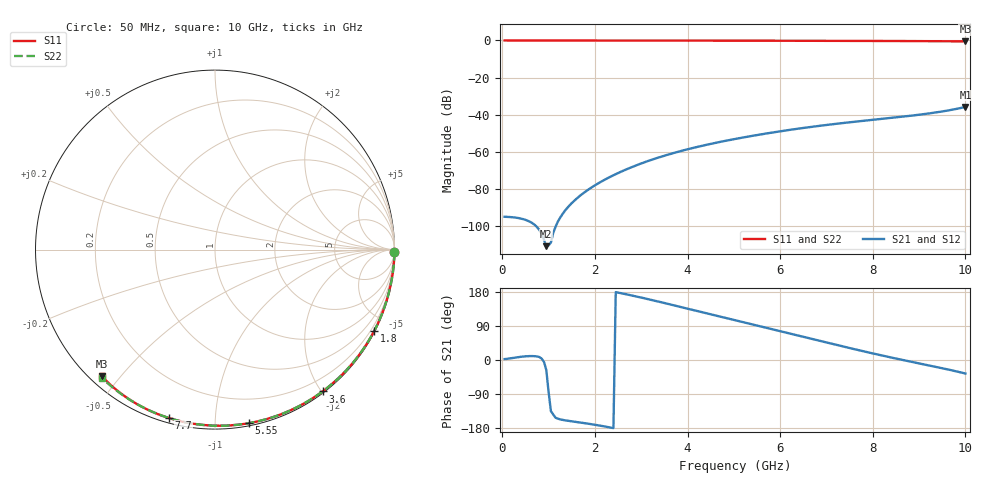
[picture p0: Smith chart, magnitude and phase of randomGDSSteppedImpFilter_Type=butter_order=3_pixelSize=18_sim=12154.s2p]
! freq	dB(S11)	phase(S11)	dB(S12)	phase(S12)
!  dB(S21)	phase(S21)	dB(S22)	phase(S22)
!S-par simulation data
#  GHz  S  DB  R 50
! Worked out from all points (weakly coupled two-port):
!   200 points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, 50 MHz to 10 GHz, reference 50 ohm
!   highest |S21| = -35.90 dB at 10 GHz (marker M1); lowest = -111.0 dB at 950 MHz (marker M2)
!   lowest |S11| = -0.5 dB at 10 GHz (marker M3), VSWR 35.98, Z = 1.67 - j22.3 ohm
!   |S11| at or under -10 dB: nowhere
!   |S22| runs from -0.4 to 0.0 dB; largest |S21 - S12| = 0
!   S11 on the Smith chart (normalised r, x): 50 MHz: open; 1.8 GHz: 0.04, -4.16; 3.6 GHz: 0.02, -2.01; 5.55 GHz: 0.02, -1.21; 7.7 GHz: 0.02, -0.76; 10 GHz: 0.03, -0.45
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0.05  -0.00 -0.8  -95.18 2.5  -95.18 2.5  -0.00 -0.8
0.5  -0.01 -7.6  -96.83 9.7  -96.83 9.7  -0.01 -7.6
0.95  -0.02 -14.4  -111.03 -26.1  -111.03 -26.1  -0.02 -14.4
1.75  -0.03 -26.3  -82.43 -166.2  -82.43 -166.2  -0.03 -26.2
1.8  -0.03 -27.0  -81.51 -167.1  -81.51 -167.1  -0.03 -27.0
1.9  -0.04 -28.5  -79.79 -168.9  -79.79 -168.9  -0.04 -28.4
2.05  -0.04 -30.7  -77.44 -171.9  -77.44 -171.9  -0.04 -30.6
2.25  -0.04 -33.6  -74.64 -176.2  -74.64 -176.2  -0.04 -33.5
2.65  -0.05 -39.4  -69.88 174.1  -69.88 174.1  -0.05 -39.3
3  -0.06 -44.4  -66.39 164.7  -66.39 164.7  -0.06 -44.3
3.4  -0.07 -50.1  -62.98 153.3  -62.98 153.3  -0.07 -49.9
3.6  -0.07 -52.8  -61.46 147.4  -61.46 147.4  -0.07 -52.7
4.3  -0.09 -62.4  -56.94 126.5  -56.94 126.5  -0.09 -62.3
5.05  -0.11 -72.4  -53.06 104.3  -53.06 104.3  -0.11 -72.2
5.55  -0.13 -78.9  -50.84 89.5  -50.84 89.5  -0.13 -78.7
6.1  -0.15 -85.9  -48.66 73.2  -48.66 73.2  -0.15 -85.7
6.7  -0.18 -93.3  -46.56 55.3  -46.56 55.3  -0.18 -93.1
7.7  -0.24 -105.4  -43.63 25.8  -43.63 25.8  -0.24 -105.1
8.35  -0.29 -113.0  -41.93 7.8  -41.93 7.8  -0.29 -112.7
9.3  -0.38 -123.9  -39.09 -16.6  -39.09 -16.6  -0.36 -123.5
9.65  -0.43 -127.9  -37.69 -25.7  -37.69 -25.7  -0.39 -127.5
10  -0.48 -131.8  -35.90 -35.8  -35.90 -35.8  -0.42 -131.3
